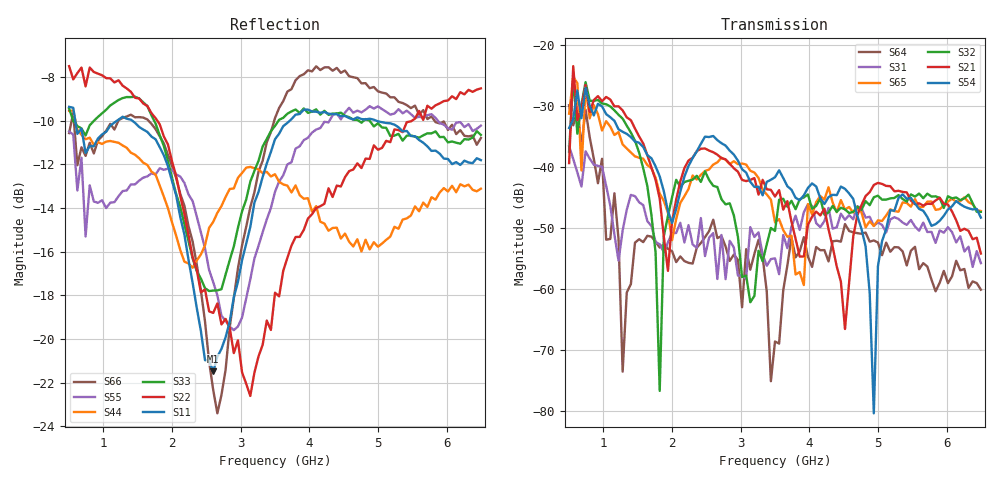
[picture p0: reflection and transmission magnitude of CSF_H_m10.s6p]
!Keysight Technologies,M9804A,MY58100912,A.14.10.03
!Date: Thursday, April 27, 2023 10:28:33
!Correction: S11(C  6-Port  )
!S12(C  6-Port  )
!S13(C  6-Port  )
!S14(C  6-Port  )
!S15(C  6-Port  )
!S16(C  6-Port  )
!S21(C  6-Port  )
!S22(C  6-Port  )
!S23(C  6-Port  )
!S24(C  6-Port  )
!S25(C  6-Port  )
!S26(C  6-Port  )
!S31(C  6-Port  )
!S32(C  6-Port  )
!S33(C  6-Port  )
!S34(C  6-Port  )
!S35(C  6-Port  )
!S36(C  6-Port  )
!S41(C  6-Port  )
!S42(C  6-Port  )
!S43(C  6-Port  )
!S44(C  6-Port  )
!S45(C  6-Port  )
!S46(C  6-Port  )
!S51(C  6-Port  )
!S52(C  6-Port  )
!S53(C  6-Port  )
!S54(C  6-Port  )
!S55(C  6-Port  )
!S56(C  6-Port  )
!S61(C  6-Port  )
!S62(C  6-Port  )
!S63(C  6-Port  )
!S64(C  6-Port  )
!S65(C  6-Port  )
!S66(C  6-Port  )
!S6P File: Measurement: :
# Hz S  RI  R 50
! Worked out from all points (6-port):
!   101 points, 500 MHz to 6.5 GHz, reference 50 ohm
!   strongest paths, dB at 500 MHz, 2 GHz, 3.5 GHz, 5 GHz, 6.5 GHz:
!     S54: -33.6, -49.2, -41.7, -56.3, -48.3
!     S21: -39.4, -48.9, -44.8, -42.6, -54.2
!     S32: -37.4, -45.0, -50.5, -44.7, -47.3
!     S65: -31.3, -52.0, -49.0, -48.7, -47.2
!     S31: -36.6, -50.8, -55.0, -49.1, -55.7
!     S64: -29.9, -53.8, -68.6, -52.4, -60.1
!   lowest |S11| = -21.5 dB at 2.6 GHz (marker M1), VSWR 1.18, Z = 42.5 + j2.19 ohm
!   |S11| at or under -10 dB: 589.8 MHz to 1.197 GHz (607.5 MHz wide, 68 % of centre); 1.42 GHz to 3.715 GHz (2.294 GHz wide, 89.4 % of centre); 4.977 GHz to end of sweep
